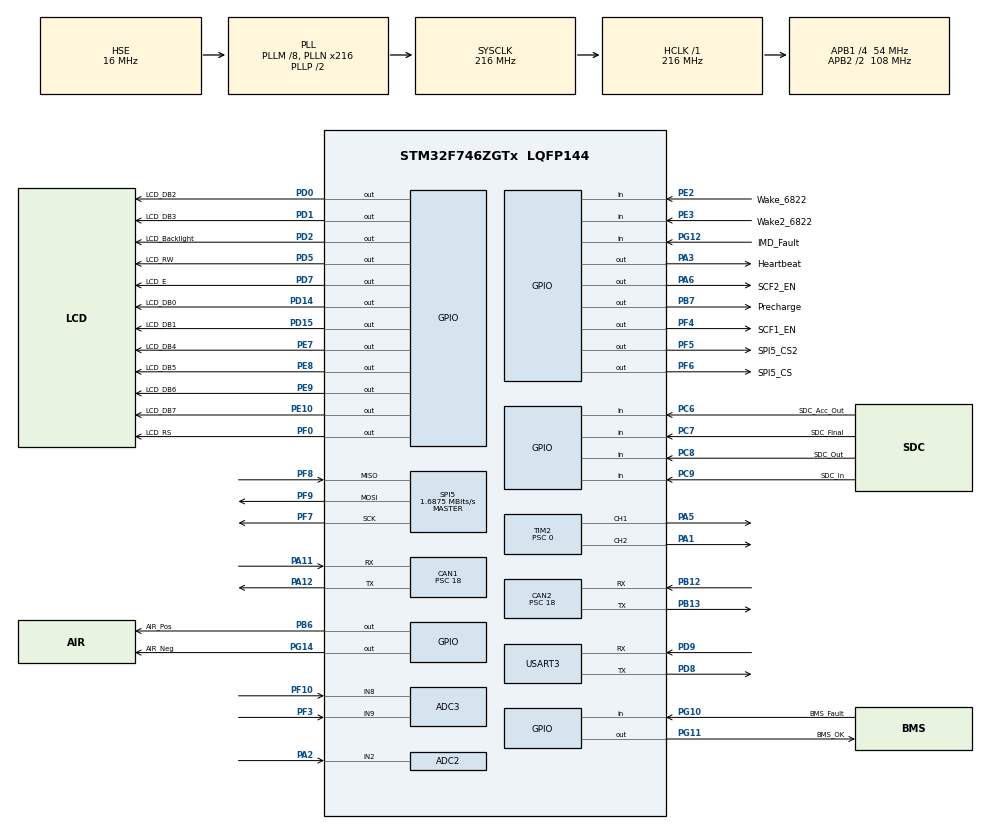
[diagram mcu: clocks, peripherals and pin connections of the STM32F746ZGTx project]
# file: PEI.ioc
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ADC2.Channel-3\#ChannelRegularConversion=ADC_CHANNEL_2
ADC2.NbrOfConversionFlag=1
ADC2.Rank-3\#ChannelRegularConversion=1
ADC2.SamplingTime-3\#ChannelRegularConversion=ADC_SAMPLETIME_480CYCLES
ADC3.Channel-3\#ChannelRegularConversion=ADC_CHANNEL_9
ADC3.Channel-4\#ChannelRegularConversion=ADC_CHANNEL_8
ADC3.ClockPrescaler=ADC_CLOCK_SYNC_PCLK_DIV4
ADC3.ContinuousConvMode=DISABLE
ADC3.DMAContinuousRequests=ENABLE
ADC3.DiscontinuousConvMode=DISABLE
ADC3.EOCSelection=ADC_EOC_SEQ_CONV
ADC3.ExternalTrigConv=ADC_EXTERNALTRIGCONV_T6_TRGO
ADC3.NbrOfConversion=2
ADC3.NbrOfConversionFlag=1
ADC3.Rank-3\#ChannelRegularConversion=1
ADC3.Rank-4\#ChannelRegularConversion=2
ADC3.SamplingTime-3\#ChannelRegularConversion=ADC_SAMPLETIME_15CYCLES
ADC3.SamplingTime-4\#ChannelRegularConversion=ADC_SAMPLETIME_3CYCLES
ADC3.ScanConvMode=ADC_SCAN_ENABLE
CAN1.BS1=CAN_BS1_2TQ
CAN1.BS2=CAN_BS2_3TQ
CAN1.CalculateBaudRate=499999
CAN1.CalculateTimeBit=2000
CAN1.CalculateTimeQuantum=333.33333333333337
CAN1.Prescaler=18
CAN2.BS1=CAN_BS1_2TQ
CAN2.BS2=CAN_BS2_3TQ
CAN2.CalculateBaudRate=499999
CAN2.CalculateTimeBit=2000
CAN2.CalculateTimeQuantum=333.33333333333337
CAN2.Prescaler=18
CORTEX_M7.AccessPermission-Cortex_Memory_Protection_Unit_Region1_Settings=MPU_REGION_FULL_ACCESS
CORTEX_M7.BaseAddress-Cortex_Memory_Protection_Unit_Region0_Settings=0x90000000
CORTEX_M7.BaseAddress-Cortex_Memory_Protection_Unit_Region1_Settings=0x90000000
CORTEX_M7.BaseAddress-Cortex_Memory_Protection_Unit_Region2_Settings=0x90000000
CORTEX_M7.CPU_DCache=Enabled
CORTEX_M7.CPU_ICache=Enabled
CORTEX_M7.DisableExec-Cortex_Memory_Protection_Unit_Region0_Settings=MPU_INSTRUCTION_ACCESS_DISABLE
CORTEX_M7.DisableExec-Cortex_Memory_Protection_Unit_Region1_Settings=MPU_INSTRUCTION_ACCESS_DISABLE
CORTEX_M7.Enable-Cortex_Memory_Protection_Unit_Region0_Settings=MPU_REGION_ENABLE
CORTEX_M7.Enable-Cortex_Memory_Protection_Unit_Region1_Settings=MPU_REGION_ENABLE
CORTEX_M7.Enable-Cortex_Memory_Protection_Unit_Region2_Settings=MPU_REGION_ENABLE
CORTEX_M7.IsBufferable-Cortex_Memory_Protection_Unit_Region1_Settings=MPU_ACCESS_BUFFERABLE
CORTEX_M7.IsCacheable-Cortex_Memory_Protection_Unit_Region1_Settings=MPU_ACCESS_CACHEABLE
CORTEX_M7.MPU_Control=MPU_PRIVILEGED_DEFAULT
CORTEX_M7.PREFETCH_ENABLE=1
CORTEX_M7.Size-Cortex_Memory_Protection_Unit_Region0_Settings=MPU_REGION_SIZE_512MB
CORTEX_M7.Size-Cortex_Memory_Protection_Unit_Region1_Settings=MPU_REGION_SIZE_16MB
CORTEX_M7.Size-Cortex_Memory_Protection_Unit_Region2_Settings=MPU_REGION_SIZE_1MB
Dma.ADC3.0.Direction=DMA_PERIPH_TO_MEMORY
Dma.ADC3.0.FIFOMode=DMA_FIFOMODE_DISABLE
Dma.ADC3.0.Instance=DMA2_Stream0
Dma.ADC3.0.MemDataAlignment=DMA_MDATAALIGN_HALFWORD
Dma.ADC3.0.MemInc=DMA_MINC_ENABLE
Dma.ADC3.0.Mode=DMA_CIRCULAR
Dma.ADC3.0.PeriphDataAlignment=DMA_PDATAALIGN_HALFWORD
Dma.ADC3.0.PeriphInc=DMA_PINC_DISABLE
Dma.ADC3.0.Priority=DMA_PRIORITY_LOW
Dma.Request0=ADC3
Dma.Request1=USART3_TX
Dma.USART3_TX.1.Direction=DMA_MEMORY_TO_PERIPH
Dma.USART3_TX.1.FIFOMode=DMA_FIFOMODE_DISABLE
Dma.USART3_TX.1.Instance=DMA1_Stream3
Dma.USART3_TX.1.MemDataAlignment=DMA_MDATAALIGN_BYTE
Dma.USART3_TX.1.MemInc=DMA_MINC_ENABLE
Dma.USART3_TX.1.Mode=DMA_NORMAL
Dma.USART3_TX.1.PeriphDataAlignment=DMA_PDATAALIGN_BYTE
Dma.USART3_TX.1.PeriphInc=DMA_PINC_DISABLE
Dma.USART3_TX.1.Priority=DMA_PRIORITY_LOW
IWDG.Prescaler=IWDG_PRESCALER_8
IWDG.Reload=4000-1
Mcu.Family=STM32F7
Mcu.Name=STM32F746ZGTx
Mcu.Package=LQFP144
NVIC.CAN1_RX0_IRQn=true\:0\:0\:false\:false\:true\:true\:true\:true
NVIC.CAN1_RX1_IRQn=true\:0\:0\:false\:false\:true\:true\:true\:true
NVIC.CAN2_RX0_IRQn=true\:0\:0\:false\:false\:true\:true\:true\:true
NVIC.DMA1_Stream3_IRQn=true\:0\:0\:false\:false\:true\:false\:true\:true
NVIC.DMA2_Stream0_IRQn=true\:0\:0\:false\:false\:true\:false\:true\:true
NVIC.PriorityGroup=NVIC_PRIORITYGROUP_4
NVIC.TIM7_IRQn=true\:0\:0\:false\:false\:true\:true\:true\:true
NVIC.USART3_IRQn=true\:0\:0\:false\:false\:true\:true\:true\:true
PA1.GPIO_ModeDefaultPP=GPIO_MODE_AF_OD
PA1.Signal=S_TIM2_CH2
PA11.GPIO_PuPd=GPIO_NOPULL
PA11.Mode=CAN_Activate
PA11.Signal=CAN1_RX
PA12.Mode=CAN_Activate
PA12.Signal=CAN1_TX
PA13.Mode=Trace_Asynchronous_SW
PA13.Signal=SYS_JTMS-SWDIO
PA14.Mode=Trace_Asynchronous_SW
PA14.Signal=SYS_JTCK-SWCLK
PA2.Signal=ADCx_IN2
PA3.GPIO_Label=Heartbeat
PA3.Signal=GPIO_Output
PA5.GPIO_ModeDefaultPP=GPIO_MODE_AF_OD
PA5.Signal=S_TIM2_CH1_ETR
PA6.GPIO_Label=SCF2_EN
PA6.Signal=GPIO_Output
PB12.Mode=CAN_Activate
PB12.Signal=CAN2_RX
PB13.Mode=CAN_Activate
PB13.Signal=CAN2_TX
PB3.Mode=Trace_Asynchronous_SW
PB3.Signal=SYS_JTDO-SWO
PB6.GPIO_Label=AIR_Pos
PB6.Signal=GPIO_Output
PB7.GPIO_Label=Precharge
PB7.Signal=GPIO_Output
PC6.GPIO_Label=SDC_Acc_Out
PC6.Signal=GPIO_Input
PC7.GPIO_Label=SDC_Final
PC7.Signal=GPIO_Input
PC8.GPIO_Label=SDC_Out
PC8.Signal=GPIO_Input
PC9.GPIO_Label=SDC_In
PC9.Signal=GPIO_Input
PD0.GPIO_Label=LCD_DB2
PD0.Signal=GPIO_Output
PD1.GPIO_Label=LCD_DB3
PD1.Signal=GPIO_Output
PD14.GPIO_Label=LCD_DB0
PD14.Signal=GPIO_Output
PD15.GPIO_Label=LCD_DB1
PD15.Signal=GPIO_Output
PD2.GPIO_Label=LCD_Backlight
PD2.Signal=GPIO_Output
PD5.GPIO_Label=LCD_RW
PD5.Signal=GPIO_Output
PD7.GPIO_Label=LCD_E
PD7.Signal=GPIO_Output
PD8.Mode=Asynchronous
PD8.Signal=USART3_TX
PD9.Mode=Asynchronous
PD9.Signal=USART3_RX
PE10.GPIO_Label=LCD_DB7
PE10.Signal=GPIO_Output
PE2.GPIO_Label=Wake_6822
PE2.Signal=GPIO_Input
PE3.GPIO_Label=Wake2_6822
PE3.Signal=GPIO_Input
PE7.GPIO_Label=LCD_DB4
PE7.Signal=GPIO_Output
PE8.GPIO_Label=LCD_DB5
PE8.Signal=GPIO_Output
PE9.GPIO_Label=LCD_DB6
PE9.Signal=GPIO_Output
PF0.GPIO_Label=LCD_RS
PF0.Signal=GPIO_Output
PF10.Mode=IN8
PF10.Signal=ADC3_IN8
PF3.Mode=IN9
PF3.Signal=ADC3_IN9
PF4.GPIO_Label=SCF1_EN
PF4.Signal=GPIO_Output
PF5.GPIO_Label=SPI5_CS2
PF5.Signal=GPIO_Output
PF6.GPIO_Label=SPI5_CS
PF6.Signal=GPIO_Output
PF7.Mode=Full_Duplex_Master
PF7.Signal=SPI5_SCK
PF8.Mode=Full_Duplex_Master
PF8.Signal=SPI5_MISO
PF9.Mode=Full_Duplex_Master
PF9.Signal=SPI5_MOSI
PG10.GPIO_Label=BMS_Fault
PG10.Signal=GPIO_Input
PG11.GPIO_Label=BMS_OK
PG11.Signal=GPIO_Output
PG12.GPIO_Label=IMD_Fault
PG12.Signal=GPIO_Input
PG14.GPIO_Label=AIR_Neg
PG14.Signal=GPIO_Output
PH0/OSC_IN.Mode=HSE-External-Oscillator
PH0/OSC_IN.Signal=RCC_OSC_IN
PH1/OSC_OUT.Mode=HSE-External-Oscillator
PH1/OSC_OUT.Signal=RCC_OSC_OUT
ProjectManager.HeapSize=0x200
ProjectManager.StackSize=0x400
ProjectManager.TargetToolchain=STM32CubeIDE
RCC.AHBFreq_Value=216000000
RCC.APB1CLKDivider=RCC_HCLK_DIV4
RCC.APB1Freq_Value=54000000
RCC.APB1TimFreq_Value=108000000
RCC.APB2CLKDivider=RCC_HCLK_DIV2
RCC.APB2Freq_Value=108000000
RCC.APB2TimFreq_Value=216000000
RCC.CortexFreq_Value=216000000
RCC.HCLKFreq_Value=216000000
RCC.HSE_VALUE=16000000
RCC.HSI_VALUE=16000000
RCC.LSE_VALUE=32768
RCC.PLLM=8
RCC.PLLN=216
RCC.PLLQ=9
RCC.PLLSourceVirtual=RCC_PLLSOURCE_HSE
RCC.SYSCLKFreq_VALUE=216000000
RCC.SYSCLKSource=RCC_SYSCLKSOURCE_PLLCLK
RCC.USBFreq_Value=48000000
RCC.VCOOutputFreq_Value=432000000
SH.ADCx_IN2.0=ADC2_IN2,IN2
SH.S_TIM2_CH1_ETR.0=TIM2_CH1,PWM Generation1 CH1
SH.S_TIM2_CH2.0=TIM2_CH2,PWM Generation2 CH2
SPI5.BaudRatePrescaler=SPI_BAUDRATEPRESCALER_64
SPI5.CLKPhase=SPI_PHASE_2EDGE
SPI5.CLKPolarity=SPI_POLARITY_HIGH
SPI5.CalculateBaudRate=1.6875 MBits/s
SPI5.DataSize=SPI_DATASIZE_8BIT
SPI5.Direction=SPI_DIRECTION_2LINES
SPI5.Mode=SPI_MODE_MASTER
SPI5.VirtualType=VM_MASTER
TIM10.Prescaler=27-1
TIM2.AutoReloadPreload=TIM_AUTORELOAD_PRELOAD_ENABLE
TIM2.Channel-PWM\ Generation1\ CH1=TIM_CHANNEL_1
TIM2.Channel-PWM\ Generation2\ CH2=TIM_CHANNEL_2
TIM2.Period=30000
TIM2.Prescaler=0
TIM6.AutoReloadPreload=TIM_AUTORELOAD_PRELOAD_ENABLE
TIM6.Period=27000-1
TIM6.TIM_MasterOutputTrigger=TIM_TRGO_UPDATE
TIM7.Period=199
TIM7.Prescaler=54000-1
USART3.SwapParam=ADVFEATURE_SWAP_DISABLE
USART3.VirtualMode-Asynchronous=VM_ASYNC
VP_IWDG_VS_IWDG.Mode=IWDG_Activate
VP_TIM10_VS_ClockSourceINT.Mode=Enable_Timer
VP_TIM2_VS_ClockSourceINT.Mode=Internal
VP_TIM6_VS_ClockSourceINT.Mode=Enable_Timer
VP_TIM7_VS_ClockSourceINT.Mode=Enable_Timer
board=custom

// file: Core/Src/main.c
/* USER CODE BEGIN Header */
/**
  ******************************************************************************
  * @file           : main.c
  * @brief          : Main program body
  ******************************************************************************
  * @attention
  *
  * Copyright (c) 2024 STMicroelectronics.
  * All rights reserved.
  *
  * This software is licensed under terms that can be found in the LICENSE file
  * in the root directory of this software component.
  * If no LICENSE file comes with this software, it is provided AS-IS.
  *
  ******************************************************************************
  */
/* USER CODE END Header */
#include "main.h"

/* USER CODE BEGIN Includes */
#include <stdint.h>

#include "fsm.h"
#include "cell_interface.h"
#include "can_manager.h"
#include "charger.h"
#include "SOC.h"
#include "battery_gui.h"
#include "relays.h"
#include "LCD.h"
#include "display.h"
#include "delays.h"
#include "data.h"

/* USER CODE END Includes */

ADC_HandleTypeDef hadc2;
ADC_HandleTypeDef hadc3;
DMA_HandleTypeDef hdma_adc3;

CAN_HandleTypeDef hcan1;
CAN_HandleTypeDef hcan2;

IWDG_HandleTypeDef hiwdg;

SPI_HandleTypeDef hspi5;

TIM_HandleTypeDef htim2;
TIM_HandleTypeDef htim6;
TIM_HandleTypeDef htim7;
TIM_HandleTypeDef htim10;

UART_HandleTypeDef huart3;
DMA_HandleTypeDef hdma_usart3_tx;

/* USER CODE BEGIN PV */
// PEI parameters
PEI_STATE_t pei_state = PEI_LV;
uint8_t pei_status = NORMAL;

// Relay parameters
extern uint8_t relay_flags;

// VCU parameters
volatile VCU_STATE_t vcu_state = LV;
volatile uint8_t hv_requested = 0;
volatile uint8_t vcu_attached = 0;

// MC parameters
volatile int16_t mc_voltage = 0;
volatile MC_VSM_STATE_t mc_vsm_state = VSM_START;
volatile MC_DISCHARGE_STATE_t mc_discharge_state = DISCHARGE_DISABLED;
volatile uint32_t mc_post_faults = 0;
volatile uint32_t mc_run_faults = 0;

// BMS parameters
extern volatile BAT_PACK_t bat_pack;

// Charger parameters
extern volatile uint8_t charger_attached;
extern uint8_t charge_control;
extern uint8_t charge_profile_received;
extern uint16_t charger_max_current;

extern volatile UART_TxCplt; // flag for whether UART transmission finished

// Tick counters
volatile uint32_t ticks_since_vcu_message = 0;
volatile uint32_t ticks_since_mc_message = 0;
volatile uint32_t ticks_since_charger_message = 0;

// Buffer to store raw current measurements from ADC
// Buffer length in bytes needs to be divisible by 32
static volatile uint16_t current_meas_buf[16] __ALIGNED(32); // cache lines are 32 bytes long

/* USER CODE END PV */

void SystemClock_Config(void);
static void MPU_Config(void);
static void MX_GPIO_Init(void);
static void MX_DMA_Init(void);
static void MX_ADC2_Init(void);
static void MX_CAN1_Init(void);
static void MX_USART3_UART_Init(void);
static void MX_ADC3_Init(void);
static void MX_SPI5_Init(void);
static void MX_IWDG_Init(void);
static void MX_CAN2_Init(void);
static void MX_TIM10_Init(void);
static void MX_TIM2_Init(void);
static void MX_TIM6_Init(void);
static void MX_TIM7_Init(void);
/* USER CODE BEGIN PFP */
static void BMS_Init();
static float raw_to_mvolts(uint16_t adc_raw);
static float mvolts_to_amps(float mVolts, float mVolt_ref);
static void set_back_fans(float duty_cycle);
static void set_side_fans(float duty_cycle);

void HAL_ADC_ConvCpltCallback(ADC_HandleTypeDef* hadc);
void HAL_TIM_PeriodElapsedCallback(TIM_HandleTypeDef* htim_ptr);
void HAL_UART_TxCpltCallback(UART_HandleTypeDef* huart);
/* USER CODE END PFP */

/* USER CODE BEGIN 0 */
static void BMS_Init() {
	// Pull SPI chip selects high (chip select is active low)
	HAL_GPIO_WritePin(SPI5_CS_GPIO_Port, SPI5_CS_Pin, GPIO_PIN_SET);
	HAL_GPIO_WritePin(SPI5_CS2_GPIO_Port, SPI5_CS2_Pin, GPIO_PIN_SET);

	cell_interface_init(&hspi5, &htim10);
	init_SOC_vars();
}

static float raw_to_mvolts(uint16_t adc_raw) {
	return ((float)adc_raw / 4095) * 3.3 * 1000;
}

static float mvolts_to_amps(float mVolts, float mVolt_ref) {
	return ((mVolts * 7.4 / 4.7) - mVolt_ref) / 6.667;
}

static void enable_fans() {
	HAL_GPIO_WritePin(SCF1_EN_GPIO_Port, SCF1_EN_Pin, GPIO_PIN_SET);
	HAL_GPIO_WritePin(SCF2_EN_GPIO_Port, SCF2_EN_Pin, GPIO_PIN_SET);
}

static void disable_fans() {
	HAL_GPIO_WritePin(SCF1_EN_GPIO_Port, SCF1_EN_Pin, GPIO_PIN_RESET);
	HAL_GPIO_WritePin(SCF2_EN_GPIO_Port, SCF2_EN_Pin, GPIO_PIN_RESET);
}

static void set_back_fans(float duty_cycle) {
	htim2.Instance->CCR1 = (uint32_t)((1 - duty_cycle) * htim2.Instance->ARR);
}

static void set_side_fans(float duty_cycle) {
	htim2.Instance->CCR2 = (uint32_t)((1 - duty_cycle) * htim2.Instance->ARR);
}

// Timer triggers ADC conversion every 250 us (4 kHz)
// Called when ADC conversion and DMA transfer is complete
void HAL_ADC_ConvCpltCallback(ADC_HandleTypeDef* hadc) {
	SCB_InvalidateDCache_by_Addr((uint32_t*)current_meas_buf, 4);

	// Move raw measurements into bat_pack struct
	bat_pack.current_raw = current_meas_buf[0];
	bat_pack.current_ref_raw = current_meas_buf[1];

	// Calculate current in Amps
	float mVolts = raw_to_mvolts(current_meas_buf[0]);
	float mVolt_ref = raw_to_mvolts(current_meas_buf[1]);

	// Move calculated current into bat_pack struct
	bat_pack.current = mvolts_to_amps(mVolts, mVolt_ref);
	if (!charger_attached) can_send_PEI_Current();
}

// Called every 100 ms (10 Hz)
void HAL_TIM_PeriodElapsedCallback(TIM_HandleTypeDef* htim) {
	if (!charger_attached) {
		can_send_BMS_High_Level_Data();

		for (uint8_t subpack = 0; subpack < N_OF_SUBPACK; subpack++) {
			can_send_BMS_Subpack_Data(subpack);
			delay_us(&htim10, 250); // delay so we don't spam the bus
		}

		for (uint8_t subpack = 0; subpack < N_OF_SUBPACK; subpack++) {
			for (uint8_t group = 0; group < 6; group++) {
				can_send_BMS_Temps(subpack, group);
				delay_us(&htim10, 250);
			}
		}
	}
}

void HAL_UART_TxCpltCallback(UART_HandleTypeDef* huart) {
	UART_TxCplt = 1;
}
/* USER CODE END 0 */

int main(void)
{

  /* MPU Configuration--------------------------------------------------------*/
  MPU_Config();

  /* Enable the CPU Cache */

  /* Enable I-Cache---------------------------------------------------------*/
  SCB_EnableICache();

  /* Enable D-Cache---------------------------------------------------------*/
  SCB_EnableDCache();

  /* MCU Configuration--------------------------------------------------------*/

  /* Reset of all peripherals, Initializes the Flash interface and the Systick. */
  HAL_Init();

  /* Configure the system clock */
  SystemClock_Config();

  /* Initialize all configured peripherals */
  MX_GPIO_Init();
  MX_DMA_Init();
  MX_ADC2_Init();
  MX_CAN1_Init();
  MX_USART3_UART_Init();
  MX_ADC3_Init();
  MX_SPI5_Init();
  MX_IWDG_Init();
  MX_CAN2_Init();
  MX_TIM10_Init();
  MX_TIM2_Init();
  MX_TIM6_Init();
  MX_TIM7_Init();
  /* USER CODE BEGIN 2 */
  HAL_TIM_Base_Start(&htim10);

  HAL_TIM_PWM_Start(&htim2, TIM_CHANNEL_1);
  HAL_TIM_PWM_Start(&htim2, TIM_CHANNEL_2);

  HAL_TIM_Base_Start_IT(&htim7);

  HAL_TIM_Base_Start(&htim6);
  HAL_ADC_Start_DMA(&hadc3, (uint32_t*)current_meas_buf, 2);

  LCD_Init(&htim10);
  BMS_Init();

  uint8_t shutdown_flags = 0;

  BMS_MODE_t bms_status = BMS_NORMAL;
  uint32_t cell_disconnect_check_tickstart = HAL_GetTick();
  /* USER CODE END 2 */

  /* Infinite loop */
  /* USER CODE BEGIN WHILE */
  while (1)
  {
	  // BMS

	  update_voltages(&hspi5, &htim10);
	  update_temps(&hspi5, &htim10);

	  process_voltages();
	  process_temps();

	  if ((HAL_GetTick() - cell_disconnect_check_tickstart) > 1000) {
		  cell_disconnect_check(&hspi5, &htim10);
		  cell_disconnect_check_tickstart = HAL_GetTick();
	  }

	  switch (bms_status) {
		  case BMS_NORMAL:
			  HAL_GPIO_WritePin(BMS_OK_GPIO_Port, BMS_OK_Pin, GPIO_PIN_SET);
			  bms_status = bat_health_check();

			  // Check if we're charging accumulator
			  if(charger_attached && (pei_state == PEI_HV)){
				  balance_cells(&hspi5, &htim10);
			  } else {
				  disable_cell_balancing(&hspi5, &htim10);
			  }

			  break;

		  case BMS_FAULT:
			  HAL_GPIO_WritePin(BMS_OK_GPIO_Port, BMS_OK_Pin, GPIO_PIN_RESET);
			  disable_cell_balancing(&hspi5, &htim10); // make sure cell balancing is disabled

			  break;
	  }

	  if (bat_pack.HI_temp_c > 40) {
		  enable_fans();

		  // Set cooling fans to 40% duty cycle
		  set_back_fans(0.4);
		  set_side_fans(0.4);
	  }
	  else {
		  // Stop cooling fans
		  set_back_fans(0);
		  set_side_fans(0);
		  disable_fans();
	  }

	  // Update SOC estimate
	  update_SOC_input();
	  EKF(); // run extended Kalman filter and update pack struct SOC estimate

	  // -------------------- BMS ----------------------

	  // PEI

	  charge_control = CHARGE_STOP;

	  shutdown_flags = relay_flags & 0x07;
	  if (!HAL_GPIO_ReadPin(IMD_Fault_GPIO_Port, IMD_Fault_Pin)) shutdown_flags |= (1 << 5);
	  if (!HAL_GPIO_ReadPin(BMS_Fault_GPIO_Port, BMS_Fault_Pin)) shutdown_flags |= (1 << 4);
	  if (HAL_GPIO_ReadPin(SDC_Final_GPIO_Port, SDC_Final_Pin)) shutdown_flags |= (1 << 3);

	  // Interlock state machine

	  update_status();

	  if (!hv_allowed()) {
		  pei_state = PEI_FAULT;
	  }

	  switch (pei_state) {
		  case PEI_LV:
			  clear_interlock(); // clears interlock, sends a message to open AIRs

			  if (hv_request() && hv_allowed()) {
				  if (vcu_attached && precharge_ready()) {
					  pei_state = PEI_PRECHARGE;
				  }
				  else if (charger_attached) {
					  pei_state = PEI_HV; // charger doesn't need precharge
				  }
			  }

			  break;

		  case PEI_PRECHARGE:
			  start_precharge();

			  if (precharge_complete()) {
				  pei_state = PEI_HV;
			  }

			  if (!hv_request()) {
				  pei_state = PEI_LV;
			  }

			  break;

		  case PEI_HV:
			  finish_precharge();

			  if (charger_attached) {
				  charge_profile_received = uart_receive_charge_profile(&huart3);
				  if (charge_profile_received) {
					  update_max_charge_current();
				  }
				  if (charger_max_current != 0) {
					  charge_control = CHARGE_START;
				  }
			  }

			  if (!hv_request()) {
				  pei_state = PEI_LV;
			  }

			  break;

		  default:
			  clear_interlock();
			  pei_state = PEI_FAULT;

			  if (!hv_request() && hv_allowed()) {
				  pei_state = PEI_LV;
			  }
	  }

	  // -------------------- PEI ----------------------

	  update_can_status();

	  update_display(&htim10);
	  HAL_GPIO_TogglePin(Heartbeat_GPIO_Port, Heartbeat_Pin);

	  // TODO: check if USB is plugged in when we get the hardware functionality
	  // Send battery GUI data
	  // Need to wait for previous UART transmission to complete if not already, but only allow 30 ms delay
	  uint32_t timeout_tickstart = HAL_GetTick();
	  uint8_t timed_out = 0;
	  while(!UART_TxCplt && !timed_out) timed_out = (HAL_GetTick() - timeout_tickstart) > 30;
	  if (!timed_out) uart_send_GUI_Data(&huart3);

	  HAL_IWDG_Refresh(&hiwdg);

	  if (charger_attached) {
		  can_send_Charger();
	  }
	  else {
		  can_send_PEI_Status(shutdown_flags);

		  can_send_BMS_Status();
		  can_send_BMS_Diagnostics();
	  }
  }
    /* USER CODE END WHILE */

}

void SystemClock_Config(void)
{
  RCC_OscInitTypeDef RCC_OscInitStruct = {0};
  RCC_ClkInitTypeDef RCC_ClkInitStruct = {0};

  /** Configure the main internal regulator output voltage
  */
  __HAL_RCC_PWR_CLK_ENABLE();
  __HAL_PWR_VOLTAGESCALING_CONFIG(PWR_REGULATOR_VOLTAGE_SCALE1);

  /** Initializes the RCC Oscillators according to the specified parameters
  * in the RCC_OscInitTypeDef structure.
  */
  RCC_OscInitStruct.OscillatorType = RCC_OSCILLATORTYPE_LSI|RCC_OSCILLATORTYPE_HSE;
  RCC_OscInitStruct.HSEState = RCC_HSE_ON;
  RCC_OscInitStruct.LSIState = RCC_LSI_ON;
  RCC_OscInitStruct.PLL.PLLState = RCC_PLL_ON;
  RCC_OscInitStruct.PLL.PLLSource = RCC_PLLSOURCE_HSE;
  RCC_OscInitStruct.PLL.PLLM = 8;
  RCC_OscInitStruct.PLL.PLLN = 216;
  RCC_OscInitStruct.PLL.PLLP = RCC_PLLP_DIV2;
  RCC_OscInitStruct.PLL.PLLQ = 9;
  if (HAL_RCC_OscConfig(&RCC_OscInitStruct) != HAL_OK)
  {
    Error_Handler();
  }

  /** Activate the Over-Drive mode
  */
  if (HAL_PWREx_EnableOverDrive() != HAL_OK)
  {
    Error_Handler();
  }

  /** Initializes the CPU, AHB and APB buses clocks
  */
  RCC_ClkInitStruct.ClockType = RCC_CLOCKTYPE_HCLK|RCC_CLOCKTYPE_SYSCLK
                              |RCC_CLOCKTYPE_PCLK1|RCC_CLOCKTYPE_PCLK2;
  RCC_ClkInitStruct.SYSCLKSource = RCC_SYSCLKSOURCE_PLLCLK;
  RCC_ClkInitStruct.AHBCLKDivider = RCC_SYSCLK_DIV1;
  RCC_ClkInitStruct.APB1CLKDivider = RCC_HCLK_DIV4;
  RCC_ClkInitStruct.APB2CLKDivider = RCC_HCLK_DIV2;

  if (HAL_RCC_ClockConfig(&RCC_ClkInitStruct, FLASH_LATENCY_7) != HAL_OK)
  {
    Error_Handler();
  }
}

static void MX_ADC2_Init(void)
{

  ADC_ChannelConfTypeDef sConfig = {0};

  /** Configure the global features of the ADC (Clock, Resolution, Data Alignment and number of conversion)
  */
  hadc2.Instance = ADC2;
  hadc2.Init.ClockPrescaler = ADC_CLOCK_SYNC_PCLK_DIV4;
  hadc2.Init.Resolution = ADC_RESOLUTION_12B;
  hadc2.Init.ScanConvMode = ADC_SCAN_DISABLE;
  hadc2.Init.ContinuousConvMode = DISABLE;
  hadc2.Init.DiscontinuousConvMode = DISABLE;
  hadc2.Init.ExternalTrigConvEdge = ADC_EXTERNALTRIGCONVEDGE_NONE;
  hadc2.Init.ExternalTrigConv = ADC_SOFTWARE_START;
  hadc2.Init.DataAlign = ADC_DATAALIGN_RIGHT;
  hadc2.Init.NbrOfConversion = 1;
  hadc2.Init.DMAContinuousRequests = DISABLE;
  hadc2.Init.EOCSelection = ADC_EOC_SINGLE_CONV;
  if (HAL_ADC_Init(&hadc2) != HAL_OK)
  {
    Error_Handler();
  }

  /** Configure for the selected ADC regular channel its corresponding rank in the sequencer and its sample time.
  */
  sConfig.Channel = ADC_CHANNEL_2;
  sConfig.Rank = ADC_REGULAR_RANK_1;
  sConfig.SamplingTime = ADC_SAMPLETIME_480CYCLES;
  if (HAL_ADC_ConfigChannel(&hadc2, &sConfig) != HAL_OK)
  {
    Error_Handler();
  }

}

static void MX_ADC3_Init(void)
{

  ADC_ChannelConfTypeDef sConfig = {0};

  /** Configure the global features of the ADC (Clock, Resolution, Data Alignment and number of conversion)
  */
  hadc3.Instance = ADC3;
  hadc3.Init.ClockPrescaler = ADC_CLOCK_SYNC_PCLK_DIV4;
  hadc3.Init.Resolution = ADC_RESOLUTION_12B;
  hadc3.Init.ScanConvMode = ADC_SCAN_ENABLE;
  hadc3.Init.ContinuousConvMode = DISABLE;
  hadc3.Init.DiscontinuousConvMode = DISABLE;
  hadc3.Init.ExternalTrigConvEdge = ADC_EXTERNALTRIGCONVEDGE_RISING;
  hadc3.Init.ExternalTrigConv = ADC_EXTERNALTRIGCONV_T6_TRGO;
  hadc3.Init.DataAlign = ADC_DATAALIGN_RIGHT;
  hadc3.Init.NbrOfConversion = 2;
  hadc3.Init.DMAContinuousRequests = ENABLE;
  hadc3.Init.EOCSelection = ADC_EOC_SEQ_CONV;
  if (HAL_ADC_Init(&hadc3) != HAL_OK)
  {
    Error_Handler();
  }

  /** Configure for the selected ADC regular channel its corresponding rank in the sequencer and its sample time.
  */
  sConfig.Channel = ADC_CHANNEL_9;
  sConfig.Rank = ADC_REGULAR_RANK_1;
  sConfig.SamplingTime = ADC_SAMPLETIME_15CYCLES;
  if (HAL_ADC_ConfigChannel(&hadc3, &sConfig) != HAL_OK)
  {
    Error_Handler();
  }

  /** Configure for the selected ADC regular channel its corresponding rank in the sequencer and its sample time.
  */
  sConfig.Channel = ADC_CHANNEL_8;
  sConfig.Rank = ADC_REGULAR_RANK_2;
  sConfig.SamplingTime = ADC_SAMPLETIME_3CYCLES;
  if (HAL_ADC_ConfigChannel(&hadc3, &sConfig) != HAL_OK)
  {
    Error_Handler();
  }
  /* USER CODE BEGIN ADC3_Init 2 */

  // Workaround for ADC missing external timer triggers: enable DAC clock
  // Source: https://community.st.com/stm32-mcus-products-25/adc-trigger-with-timer-not-working-51318
  uint32_t* RCC_APB1ENR = (uint32_t*)(0x40023800 + 0x40);
  *RCC_APB1ENR |= 0x20000000; // set DAC_EN (bit 29)

  /* USER CODE END ADC3_Init 2 */

}

static void MX_CAN1_Init(void)
{

  hcan1.Instance = CAN1;
  hcan1.Init.Prescaler = 18;
  hcan1.Init.Mode = CAN_MODE_NORMAL;
  hcan1.Init.SyncJumpWidth = CAN_SJW_1TQ;
  hcan1.Init.TimeSeg1 = CAN_BS1_2TQ;
  hcan1.Init.TimeSeg2 = CAN_BS2_3TQ;
  hcan1.Init.TimeTriggeredMode = DISABLE;
  hcan1.Init.AutoBusOff = DISABLE;
  hcan1.Init.AutoWakeUp = DISABLE;
  hcan1.Init.AutoRetransmission = DISABLE;
  hcan1.Init.ReceiveFifoLocked = DISABLE;
  hcan1.Init.TransmitFifoPriority = DISABLE;
  if (HAL_CAN_Init(&hcan1) != HAL_OK)
  {
    Error_Handler();
  }
  /* USER CODE BEGIN CAN1_Init 2 */
  // Filter vehicle state messages into FIFO0
  CAN_FilterTypeDef can1_filter;
  can1_filter.FilterActivation = CAN_FILTER_ENABLE;
  can1_filter.SlaveStartFilterBank = 18;
  can1_filter.FilterBank = 0;
  can1_filter.FilterFIFOAssignment = CAN_FILTER_FIFO0;
  can1_filter.FilterMode = CAN_FILTERMODE_IDMASK;
  can1_filter.FilterScale = CAN_FILTERSCALE_32BIT;
  can1_filter.FilterIdHigh = 0x766 << 5;
  can1_filter.FilterIdLow = 0x0000;
  can1_filter.FilterMaskIdHigh = 0x766 << 5;
  can1_filter.FilterMaskIdLow = 0x0000;
  if (HAL_CAN_ConfigFilter(&hcan1, &can1_filter) != HAL_OK) {
	  Error_Handler();
  }

  // Filter motor controller messages into FIFO1
  can1_filter.FilterBank = 1;
  can1_filter.FilterFIFOAssignment = CAN_FILTER_FIFO1;
  can1_filter.FilterIdHigh = 0x0A0 << 5;
  can1_filter.FilterMaskIdHigh = 0x0A0 << 5;
  if (HAL_CAN_ConfigFilter(&hcan1, &can1_filter) != HAL_OK) {
	  Error_Handler();
  }

  if (HAL_CAN_Start(&hcan1) != HAL_OK) {
	  Error_Handler();
  }

  if (HAL_CAN_ActivateNotification(&hcan1, CAN_IT_RX_FIFO0_MSG_PENDING) != HAL_OK) {
  	  Error_Handler();
  }
  if (HAL_CAN_ActivateNotification(&hcan1, CAN_IT_RX_FIFO1_MSG_PENDING) != HAL_OK) {
	  Error_Handler();
  }
  /* USER CODE END CAN1_Init 2 */

}

static void MX_CAN2_Init(void)
{

  hcan2.Instance = CAN2;
  hcan2.Init.Prescaler = 18;
  hcan2.Init.Mode = CAN_MODE_NORMAL;
  hcan2.Init.SyncJumpWidth = CAN_SJW_1TQ;
  hcan2.Init.TimeSeg1 = CAN_BS1_2TQ;
  hcan2.Init.TimeSeg2 = CAN_BS2_3TQ;
  hcan2.Init.TimeTriggeredMode = DISABLE;
  hcan2.Init.AutoBusOff = DISABLE;
  hcan2.Init.AutoWakeUp = DISABLE;
  hcan2.Init.AutoRetransmission = DISABLE;
  hcan2.Init.ReceiveFifoLocked = DISABLE;
  hcan2.Init.TransmitFifoPriority = DISABLE;
  if (HAL_CAN_Init(&hcan2) != HAL_OK)
  {
    Error_Handler();
  }
  /* USER CODE BEGIN CAN2_Init 2 */
  // Filter charger messages into FIFO0
  const uint32_t charger_id = 0x18FF50E5 << 3;

  CAN_FilterTypeDef can2_filter;
  can2_filter.FilterActivation = CAN_FILTER_ENABLE;
  can2_filter.SlaveStartFilterBank = 18;
  can2_filter.FilterBank = 18;
  can2_filter.FilterFIFOAssignment = CAN_FILTER_FIFO0;
  can2_filter.FilterMode = CAN_FILTERMODE_IDMASK;
  can2_filter.FilterScale = CAN_FILTERSCALE_32BIT;
  can2_filter.FilterIdHigh = charger_id >> 16;
  can2_filter.FilterIdLow = charger_id & 0x0000FFFF;
  can2_filter.FilterMaskIdHigh = charger_id >> 16;
  can2_filter.FilterMaskIdLow = charger_id & 0x0000FFFF;
  if (HAL_CAN_ConfigFilter(&hcan2, &can2_filter) != HAL_OK) {
	  Error_Handler();
  }

  if (HAL_CAN_Start(&hcan2) != HAL_OK) {
	  Error_Handler();
  }

  if (HAL_CAN_ActivateNotification(&hcan2, CAN_IT_RX_FIFO0_MSG_PENDING) != HAL_OK) {
	  Error_Handler();
  }
  /* USER CODE END CAN2_Init 2 */

}

static void MX_IWDG_Init(void)
{

  hiwdg.Instance = IWDG;
  hiwdg.Init.Prescaler = IWDG_PRESCALER_8;
  hiwdg.Init.Window = 4095;
  hiwdg.Init.Reload = 4000-1;
  if (HAL_IWDG_Init(&hiwdg) != HAL_OK)
  {
    Error_Handler();
  }
  /* USER CODE BEGIN IWDG_Init 2 */

  uint32_t* DBGMCU_APB1_FZ = (uint32_t*)(0xE0042008);
  *DBGMCU_APB1_FZ |= 0x00001000; // set DBG_IWDG_STOP to disable IWDG in debug mode

  /* USER CODE END IWDG_Init 2 */

}

static void MX_SPI5_Init(void)
{

  /* SPI5 parameter configuration*/
  hspi5.Instance = SPI5;
  hspi5.Init.Mode = SPI_MODE_MASTER;
  hspi5.Init.Direction = SPI_DIRECTION_2LINES;
  hspi5.Init.DataSize = SPI_DATASIZE_8BIT;
  hspi5.Init.CLKPolarity = SPI_POLARITY_HIGH;
  hspi5.Init.CLKPhase = SPI_PHASE_2EDGE;
  hspi5.Init.NSS = SPI_NSS_SOFT;
  hspi5.Init.BaudRatePrescaler = SPI_BAUDRATEPRESCALER_64;
  hspi5.Init.FirstBit = SPI_FIRSTBIT_MSB;
  hspi5.Init.TIMode = SPI_TIMODE_DISABLE;
  hspi5.Init.CRCCalculation = SPI_CRCCALCULATION_DISABLE;
  hspi5.Init.CRCPolynomial = 7;
  hspi5.Init.CRCLength = SPI_CRC_LENGTH_DATASIZE;
  hspi5.Init.NSSPMode = SPI_NSS_PULSE_DISABLE;
  if (HAL_SPI_Init(&hspi5) != HAL_OK)
  {
    Error_Handler();
  }

}

static void MX_TIM2_Init(void)
{

  TIM_ClockConfigTypeDef sClockSourceConfig = {0};
  TIM_MasterConfigTypeDef sMasterConfig = {0};
  TIM_OC_InitTypeDef sConfigOC = {0};

  htim2.Instance = TIM2;
  htim2.Init.Prescaler = 0;
  htim2.Init.CounterMode = TIM_COUNTERMODE_UP;
  htim2.Init.Period = 30000;
  htim2.Init.ClockDivision = TIM_CLOCKDIVISION_DIV1;
  htim2.Init.AutoReloadPreload = TIM_AUTORELOAD_PRELOAD_ENABLE;
  if (HAL_TIM_Base_Init(&htim2) != HAL_OK)
  {
    Error_Handler();
  }
  sClockSourceConfig.ClockSource = TIM_CLOCKSOURCE_INTERNAL;
  if (HAL_TIM_ConfigClockSource(&htim2, &sClockSourceConfig) != HAL_OK)
  {
    Error_Handler();
  }
  if (HAL_TIM_PWM_Init(&htim2) != HAL_OK)
  {
    Error_Handler();
  }
  sMasterConfig.MasterOutputTrigger = TIM_TRGO_RESET;
  sMasterConfig.MasterSlaveMode = TIM_MASTERSLAVEMODE_DISABLE;
  if (HAL_TIMEx_MasterConfigSynchronization(&htim2, &sMasterConfig) != HAL_OK)
  {
    Error_Handler();
  }
  sConfigOC.OCMode = TIM_OCMODE_PWM1;
  sConfigOC.Pulse = 0;
  sConfigOC.OCPolarity = TIM_OCPOLARITY_HIGH;
  sConfigOC.OCFastMode = TIM_OCFAST_DISABLE;
  if (HAL_TIM_PWM_ConfigChannel(&htim2, &sConfigOC, TIM_CHANNEL_1) != HAL_OK)
  {
    Error_Handler();
  }
  if (HAL_TIM_PWM_ConfigChannel(&htim2, &sConfigOC, TIM_CHANNEL_2) != HAL_OK)
  {
    Error_Handler();
  }
  HAL_TIM_MspPostInit(&htim2);

}

static void MX_TIM6_Init(void)
{

  TIM_MasterConfigTypeDef sMasterConfig = {0};

  htim6.Instance = TIM6;
  htim6.Init.Prescaler = 0;
  htim6.Init.CounterMode = TIM_COUNTERMODE_UP;
  htim6.Init.Period = 27000-1;
  htim6.Init.AutoReloadPreload = TIM_AUTORELOAD_PRELOAD_ENABLE;
  if (HAL_TIM_Base_Init(&htim6) != HAL_OK)
  {
    Error_Handler();
  }
  sMasterConfig.MasterOutputTrigger = TIM_TRGO_UPDATE;
  sMasterConfig.MasterSlaveMode = TIM_MASTERSLAVEMODE_DISABLE;
  if (HAL_TIMEx_MasterConfigSynchronization(&htim6, &sMasterConfig) != HAL_OK)
  {
    Error_Handler();
  }

}

static void MX_TIM7_Init(void)
{

  TIM_MasterConfigTypeDef sMasterConfig = {0};

  htim7.Instance = TIM7;
  htim7.Init.Prescaler = 54000-1;
  htim7.Init.CounterMode = TIM_COUNTERMODE_UP;
  htim7.Init.Period = 199;
  htim7.Init.AutoReloadPreload = TIM_AUTORELOAD_PRELOAD_DISABLE;
  if (HAL_TIM_Base_Init(&htim7) != HAL_OK)
  {
    Error_Handler();
  }
  sMasterConfig.MasterOutputTrigger = TIM_TRGO_RESET;
  sMasterConfig.MasterSlaveMode = TIM_MASTERSLAVEMODE_DISABLE;
  if (HAL_TIMEx_MasterConfigSynchronization(&htim7, &sMasterConfig) != HAL_OK)
  {
    Error_Handler();
  }

}

static void MX_TIM10_Init(void)
{

  htim10.Instance = TIM10;
  htim10.Init.Prescaler = 27-1;
  htim10.Init.CounterMode = TIM_COUNTERMODE_UP;
  htim10.Init.Period = 65535;
  htim10.Init.ClockDivision = TIM_CLOCKDIVISION_DIV1;
  htim10.Init.AutoReloadPreload = TIM_AUTORELOAD_PRELOAD_DISABLE;
  if (HAL_TIM_Base_Init(&htim10) != HAL_OK)
  {
    Error_Handler();
  }

}

static void MX_USART3_UART_Init(void)
{

  huart3.Instance = USART3;
  huart3.Init.BaudRate = 115200;
  huart3.Init.WordLength = UART_WORDLENGTH_8B;
  huart3.Init.StopBits = UART_STOPBITS_1;
  huart3.Init.Parity = UART_PARITY_NONE;
  huart3.Init.Mode = UART_MODE_TX_RX;
  huart3.Init.HwFlowCtl = UART_HWCONTROL_NONE;
  huart3.Init.OverSampling = UART_OVERSAMPLING_16;
  huart3.Init.OneBitSampling = UART_ONE_BIT_SAMPLE_DISABLE;
  huart3.AdvancedInit.AdvFeatureInit = UART_ADVFEATURE_NO_INIT;
  if (HAL_UART_Init(&huart3) != HAL_OK)
  {
    Error_Handler();
  }

}

static void MX_DMA_Init(void)
{

  /* DMA controller clock enable */
  __HAL_RCC_DMA2_CLK_ENABLE();
  __HAL_RCC_DMA1_CLK_ENABLE();

  /* DMA interrupt init */
  /* DMA1_Stream3_IRQn interrupt configuration */
  HAL_NVIC_SetPriority(DMA1_Stream3_IRQn, 0, 0);
  HAL_NVIC_EnableIRQ(DMA1_Stream3_IRQn);
  /* DMA2_Stream0_IRQn interrupt configuration */
  HAL_NVIC_SetPriority(DMA2_Stream0_IRQn, 0, 0);
  HAL_NVIC_EnableIRQ(DMA2_Stream0_IRQn);

}

static void MX_GPIO_Init(void)
{
  GPIO_InitTypeDef GPIO_InitStruct = {0};

  /* GPIO Ports Clock Enable */
  __HAL_RCC_GPIOE_CLK_ENABLE();
  __HAL_RCC_GPIOF_CLK_ENABLE();
  __HAL_RCC_GPIOH_CLK_ENABLE();
  __HAL_RCC_GPIOA_CLK_ENABLE();
  __HAL_RCC_GPIOB_CLK_ENABLE();
  __HAL_RCC_GPIOD_CLK_ENABLE();
  __HAL_RCC_GPIOC_CLK_ENABLE();
  __HAL_RCC_GPIOG_CLK_ENABLE();

  /*Configure GPIO pin Output Level */
  HAL_GPIO_WritePin(GPIOF, LCD_RS_Pin|SCF1_EN_Pin|SPI5_CS2_Pin|SPI5_CS_Pin, GPIO_PIN_RESET);

  /*Configure GPIO pin Output Level */
  HAL_GPIO_WritePin(GPIOA, Heartbeat_Pin|SCF2_EN_Pin, GPIO_PIN_RESET);

  /*Configure GPIO pin Output Level */
  HAL_GPIO_WritePin(GPIOE, LCD_DB4_Pin|LCD_DB5_Pin|LCD_DB6_Pin|LCD_DB7_Pin, GPIO_PIN_RESET);

  /*Configure GPIO pin Output Level */
  HAL_GPIO_WritePin(GPIOD, LCD_DB0_Pin|LCD_DB1_Pin|LCD_DB2_Pin|LCD_DB3_Pin
                          |LCD_Backlight_Pin|LCD_RW_Pin|LCD_E_Pin, GPIO_PIN_RESET);

  /*Configure GPIO pin Output Level */
  HAL_GPIO_WritePin(GPIOG, BMS_OK_Pin|AIR_Neg_Pin, GPIO_PIN_RESET);

  /*Configure GPIO pin Output Level */
  HAL_GPIO_WritePin(GPIOB, AIR_Pos_Pin|Precharge_Pin, GPIO_PIN_RESET);

  /*Configure GPIO pins : Wake_6822_Pin Wake2_6822_Pin */
  GPIO_InitStruct.Pin = Wake_6822_Pin|Wake2_6822_Pin;
  GPIO_InitStruct.Mode = GPIO_MODE_INPUT;
  GPIO_InitStruct.Pull = GPIO_NOPULL;
  HAL_GPIO_Init(GPIOE, &GPIO_InitStruct);

  /*Configure GPIO pins : LCD_RS_Pin SCF1_EN_Pin SPI5_CS2_Pin SPI5_CS_Pin */
  GPIO_InitStruct.Pin = LCD_RS_Pin|SCF1_EN_Pin|SPI5_CS2_Pin|SPI5_CS_Pin;
  GPIO_InitStruct.Mode = GPIO_MODE_OUTPUT_PP;
  GPIO_InitStruct.Pull = GPIO_NOPULL;
  GPIO_InitStruct.Speed = GPIO_SPEED_FREQ_LOW;
  HAL_GPIO_Init(GPIOF, &GPIO_InitStruct);

  /*Configure GPIO pins : Heartbeat_Pin SCF2_EN_Pin */
  GPIO_InitStruct.Pin = Heartbeat_Pin|SCF2_EN_Pin;
  GPIO_InitStruct.Mode = GPIO_MODE_OUTPUT_PP;
  GPIO_InitStruct.Pull = GPIO_NOPULL;
  GPIO_InitStruct.Speed = GPIO_SPEED_FREQ_LOW;
  HAL_GPIO_Init(GPIOA, &GPIO_InitStruct);

  /*Configure GPIO pins : LCD_DB4_Pin LCD_DB5_Pin LCD_DB6_Pin LCD_DB7_Pin */
  GPIO_InitStruct.Pin = LCD_DB4_Pin|LCD_DB5_Pin|LCD_DB6_Pin|LCD_DB7_Pin;
  GPIO_InitStruct.Mode = GPIO_MODE_OUTPUT_PP;
  GPIO_InitStruct.Pull = GPIO_NOPULL;
  GPIO_InitStruct.Speed = GPIO_SPEED_FREQ_LOW;
  HAL_GPIO_Init(GPIOE, &GPIO_InitStruct);

  /*Configure GPIO pins : LCD_DB0_Pin LCD_DB1_Pin LCD_DB2_Pin LCD_DB3_Pin
                           LCD_Backlight_Pin LCD_RW_Pin LCD_E_Pin */
  GPIO_InitStruct.Pin = LCD_DB0_Pin|LCD_DB1_Pin|LCD_DB2_Pin|LCD_DB3_Pin
                          |LCD_Backlight_Pin|LCD_RW_Pin|LCD_E_Pin;
  GPIO_InitStruct.Mode = GPIO_MODE_OUTPUT_PP;
  GPIO_InitStruct.Pull = GPIO_NOPULL;
  GPIO_InitStruct.Speed = GPIO_SPEED_FREQ_LOW;
  HAL_GPIO_Init(GPIOD, &GPIO_InitStruct);

  /*Configure GPIO pins : SDC_Acc_Out_Pin SDC_Final_Pin SDC_Out_Pin SDC_In_Pin */
  GPIO_InitStruct.Pin = SDC_Acc_Out_Pin|SDC_Final_Pin|SDC_Out_Pin|SDC_In_Pin;
  GPIO_InitStruct.Mode = GPIO_MODE_INPUT;
  GPIO_InitStruct.Pull = GPIO_NOPULL;
  HAL_GPIO_Init(GPIOC, &GPIO_InitStruct);

  /*Configure GPIO pins : BMS_Fault_Pin IMD_Fault_Pin */
  GPIO_InitStruct.Pin = BMS_Fault_Pin|IMD_Fault_Pin;
  GPIO_InitStruct.Mode = GPIO_MODE_INPUT;
  GPIO_InitStruct.Pull = GPIO_NOPULL;
  HAL_GPIO_Init(GPIOG, &GPIO_InitStruct);

  /*Configure GPIO pins : BMS_OK_Pin AIR_Neg_Pin */
  GPIO_InitStruct.Pin = BMS_OK_Pin|AIR_Neg_Pin;
  GPIO_InitStruct.Mode = GPIO_MODE_OUTPUT_PP;
  GPIO_InitStruct.Pull = GPIO_NOPULL;
  GPIO_InitStruct.Speed = GPIO_SPEED_FREQ_LOW;
  HAL_GPIO_Init(GPIOG, &GPIO_InitStruct);

  /*Configure GPIO pins : AIR_Pos_Pin Precharge_Pin */
  GPIO_InitStruct.Pin = AIR_Pos_Pin|Precharge_Pin;
  GPIO_InitStruct.Mode = GPIO_MODE_OUTPUT_PP;
  GPIO_InitStruct.Pull = GPIO_NOPULL;
  GPIO_InitStruct.Speed = GPIO_SPEED_FREQ_LOW;
  HAL_GPIO_Init(GPIOB, &GPIO_InitStruct);

}

 /* MPU Configuration */

void MPU_Config(void)
{
  MPU_Region_InitTypeDef MPU_InitStruct = {0};

  /* Disables the MPU */
  HAL_MPU_Disable();

  /** Initializes and configures the Region and the memory to be protected
  */
  MPU_InitStruct.Enable = MPU_REGION_ENABLE;
  MPU_InitStruct.Number = MPU_REGION_NUMBER0;
  MPU_InitStruct.BaseAddress = 0x90000000;
  MPU_InitStruct.Size = MPU_REGION_SIZE_512MB;
  MPU_InitStruct.SubRegionDisable = 0x0;
  MPU_InitStruct.TypeExtField = MPU_TEX_LEVEL0;
  MPU_InitStruct.AccessPermission = MPU_REGION_NO_ACCESS;
  MPU_InitStruct.DisableExec = MPU_INSTRUCTION_ACCESS_DISABLE;
  MPU_InitStruct.IsShareable = MPU_ACCESS_NOT_SHAREABLE;
  MPU_InitStruct.IsCacheable = MPU_ACCESS_NOT_CACHEABLE;
  MPU_InitStruct.IsBufferable = MPU_ACCESS_NOT_BUFFERABLE;

  HAL_MPU_ConfigRegion(&MPU_InitStruct);

  /** Initializes and configures the Region and the memory to be protected
  */
  MPU_InitStruct.Number = MPU_REGION_NUMBER1;
  MPU_InitStruct.Size = MPU_REGION_SIZE_16MB;
  MPU_InitStruct.AccessPermission = MPU_REGION_FULL_ACCESS;
  MPU_InitStruct.IsCacheable = MPU_ACCESS_CACHEABLE;
  MPU_InitStruct.IsBufferable = MPU_ACCESS_BUFFERABLE;

  HAL_MPU_ConfigRegion(&MPU_InitStruct);

  /** Initializes and configures the Region and the memory to be protected
  */
  MPU_InitStruct.Number = MPU_REGION_NUMBER2;
  MPU_InitStruct.Size = MPU_REGION_SIZE_1MB;
  MPU_InitStruct.AccessPermission = MPU_REGION_NO_ACCESS;
  MPU_InitStruct.DisableExec = MPU_INSTRUCTION_ACCESS_ENABLE;
  MPU_InitStruct.IsCacheable = MPU_ACCESS_NOT_CACHEABLE;
  MPU_InitStruct.IsBufferable = MPU_ACCESS_NOT_BUFFERABLE;

  HAL_MPU_ConfigRegion(&MPU_InitStruct);
  /* Enables the MPU */
  HAL_MPU_Enable(MPU_PRIVILEGED_DEFAULT);

}

void Error_Handler(void)
{
  __disable_irq();
  while (1)
  {
  }
}
